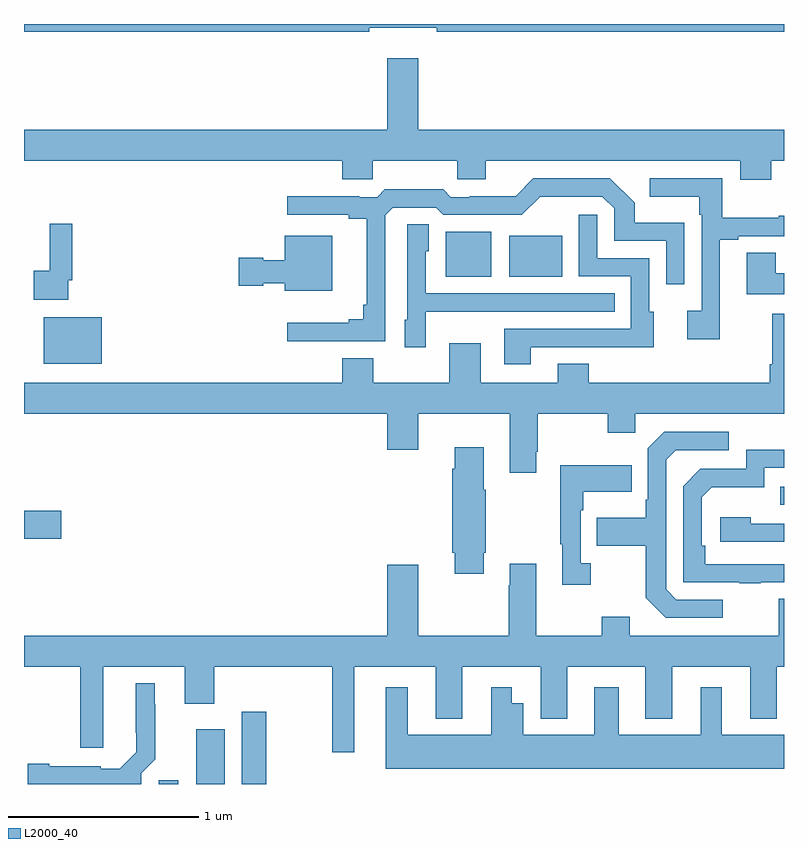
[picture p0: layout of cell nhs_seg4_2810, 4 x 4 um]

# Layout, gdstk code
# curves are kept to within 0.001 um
import gdstk
lib = gdstk.Library(unit=1e-6, precision=1e-09)
def R(c, l, rs):  # rectangles x0, y0, x1, y1
    for r in rs: c.add(gdstk.rectangle(r[:2], r[2:], *l))
def P(c, l, *ps):  # polygons
    for p in ps: c.add(gdstk.Polygon(p, *l))
L2000_40 = (2000, 40)

nhs_seg4_2810 = lib.new_cell('nhs_seg4_2810')
R(nhs_seg4_2810, L2000_40, [(259.709,766.9,259.813,766.921), (259.907,766.9,260.056,767.188), (260.147,766.9,260.274,767.281), (259,768.191,259.195,768.338), (262.981,768.369,263,768.465), (259.103,769.112,259.408,769.357), (261.221,769.571,261.46,769.807), (261.554,769.571,261.832,769.786)])
P(nhs_seg4_2810, L2000_40, [(260.816,770.879),(261.172,770.879),(261.172,770.86),(263,770.86),(263,770.9),(259,770.9),(259,770.86),(260.816,770.86)],
  [(262.933,770.18),(263,770.18),(263,770.344),(261.076,770.344),(261.076,770.719),(260.912,770.719),(260.912,770.344),(259,770.344),(259,770.18),(260.675,770.18),(260.675,770.082),(260.835,770.082),(260.835,770.18),(261.279,770.18),(261.279,770.082),(261.43,770.082),(261.43,770.18),(262.769,770.18),(262.769,770.081),(262.933,770.081)],
  [(260.901,769.893),(260.94,769.932),(261.171,769.932),(261.207,769.896),(261.621,769.896),(261.716,769.991),(262.044,769.992),(262.107,769.929),(262.107,769.758),(262.38,769.758),(262.38,769.53),(262.476,769.53),(262.476,769.855),(262.215,769.855),(262.215,769.958),(262.084,770.088),(261.681,770.088),(261.587,769.994),(261.346,769.994),(261.346,769.989),(261.246,769.989),(261.207,770.029),(260.899,770.029),(260.859,769.989),(260.765,769.989),(260.765,769.994),(260.385,769.994),(260.385,769.896),(260.708,769.896),(260.708,769.874),(260.804,769.874),(260.804,769.423),(260.785,769.423),(260.785,769.346),(260.708,769.346),(260.708,769.327),(260.385,769.327),(260.385,769.23),(260.901,769.23)],
  [(262.663,769.764),(262.759,769.764),(262.759,769.782),(263,769.782),(263,769.891),(262.973,769.891),(262.973,769.88),(262.675,769.88),(262.675,770.088),(262.293,770.088),(262.293,769.991),(262.554,769.991),(262.554,769.895),(262.566,769.895),(262.566,769.39),(262.491,769.39),(262.491,769.242),(262.663,769.242)],
  [(261.667,769.2),(262.097,769.2),(262.097,769.199),(262.315,769.199),(262.315,769.386),(262.29,769.386),(262.29,769.668),(262.017,769.668),(262.017,769.897),(261.921,769.897),(261.921,769.572),(262.194,769.572),(262.194,769.296),(261.527,769.296),(261.527,769.11),(261.667,769.11)],
  [(259.233,769.552),(259.253,769.552),(259.253,769.849),(259.136,769.849),(259.136,769.601),(259.05,769.601),(259.05,769.448),(259.233,769.448)],
  [(261.114,769.385),(261.431,769.385),(261.431,769.386),(262.109,769.386),(262.109,769.482),(261.114,769.482),(261.114,769.704),(261.13,769.704),(261.13,769.847),(261.018,769.847),(261.018,769.344),(261.005,769.344),(261.005,769.2),(261.114,769.2)],
  [(260.623,769.786),(260.372,769.786),(260.372,769.657),(260.259,769.657),(260.259,769.67),(260.13,769.67),(260.13,769.523),(260.259,769.523),(260.259,769.535),(260.372,769.535),(260.372,769.496),(260.623,769.496)],
  [(263,769.588),(262.957,769.588),(262.957,769.697),(262.805,769.697),(262.805,769.478),(263,769.478)],
  [(263,769.375),(262.937,769.375),(262.937,769.108),(262.925,769.108),(262.925,769.012),(261.973,769.012),(261.973,769.111),(261.809,769.111),(261.809,769.012),(261.403,769.012),(261.403,769.219),(261.239,769.219),(261.239,769.012),(260.839,769.012),(260.839,769.141),(260.675,769.141),(260.675,769.012),(259,769.012),(259,768.848),(260.912,768.848),(260.912,768.66),(261.076,768.66),(261.076,768.848),(261.557,768.848),(261.557,768.537),(261.697,768.537),(261.697,768.649),(261.705,768.649),(261.705,768.848),(262.072,768.848),(262.072,768.749),(262.218,768.749),(262.218,768.848),(263,768.848)],
  [(262.678,767.871),(262.434,767.871),(262.38,767.925),(262.38,768.606),(262.431,768.657),(262.708,768.657),(262.708,768.753),(262.371,768.753),(262.284,768.666),(262.284,768.397),(262.272,768.397),(262.272,768.301),(262.015,768.301),(262.015,768.154),(262.272,768.154),(262.272,767.881),(262.377,767.775),(262.678,767.775)],
  [(261.421,768.118),(261.429,768.118),(261.429,768.449),(261.421,768.449),(261.421,768.673),(261.266,768.673),(261.266,768.56),(261.254,768.56),(261.254,768.118),(261.266,768.118),(261.266,768.006),(261.421,768.006)],
  [(262.877,767.961),(263,767.961),(263,768.057),(262.586,768.057),(262.586,768.154),(262.566,768.154),(262.566,768.408),(262.619,768.461),(262.896,768.461),(262.896,768.564),(263,768.564),(263,768.66),(262.8,768.66),(262.8,768.558),(262.56,768.558),(262.47,768.468),(262.47,767.961),(262.765,767.961),(262.765,767.956),(262.877,767.956)],
  [(261.982,768.062),(261.93,768.062),(261.93,768.341),(261.943,768.341),(261.943,768.437),(262.199,768.437),(262.199,768.577),(261.822,768.577),(261.822,768.161),(261.833,768.161),(261.833,767.949),(261.982,767.949)],
  [(263,768.27),(262.826,768.27),(262.826,768.304),(262.665,768.304),(262.665,768.174),(263,768.174)],
  [(260.737,767.516),(261.167,767.516),(261.167,767.243),(261.307,767.243),(261.307,767.516),(261.719,767.516),(261.719,767.243),(261.859,767.243),(261.859,767.516),(262.271,767.516),(262.271,767.243),(262.411,767.243),(262.411,767.516),(262.823,767.516),(262.823,767.243),(262.963,767.243),(262.963,767.516),(263,767.516),(263,767.875),(262.973,767.875),(262.973,767.68),(262.189,767.68),(262.189,767.779),(262.041,767.779),(262.041,767.68),(261.697,767.68),(261.697,768.058),(261.557,768.058),(261.557,767.945),(261.55,767.945),(261.55,767.68),(261.076,767.68),(261.076,768.055),(260.912,768.055),(260.912,767.68),(259,767.68),(259,767.516),(259.295,767.516),(259.295,767.091),(259.417,767.091),(259.417,767.516),(259.847,767.516),(259.847,767.322),(260,767.322),(260,767.516),(260.623,767.516),(260.623,767.067),(260.737,767.067)],
  [(259.617,766.956),(259.691,767.03),(259.691,767.321),(259.687,767.321),(259.687,767.431),(259.589,767.431),(259.59,767.068),(259.503,766.981),(259.404,766.981),(259.404,766.993),(259.132,766.993),(259.132,767.006),(259.02,767.006),(259.02,766.9),(259.617,766.9)],
  [(263,767.158),(262.672,767.158),(262.672,767.41),(262.562,767.41),(262.562,767.158),(262.129,767.158),(262.129,767.41),(262.001,767.41),(262.001,767.158),(261.628,767.158),(261.628,767.326),(261.568,767.326),(261.568,767.41),(261.458,767.41),(261.458,767.158),(261.019,767.158),(261.019,767.41),(260.903,767.41),(260.903,766.979),(263,766.979)])

lib.write_gds('nhs_seg4_2810.gds')
